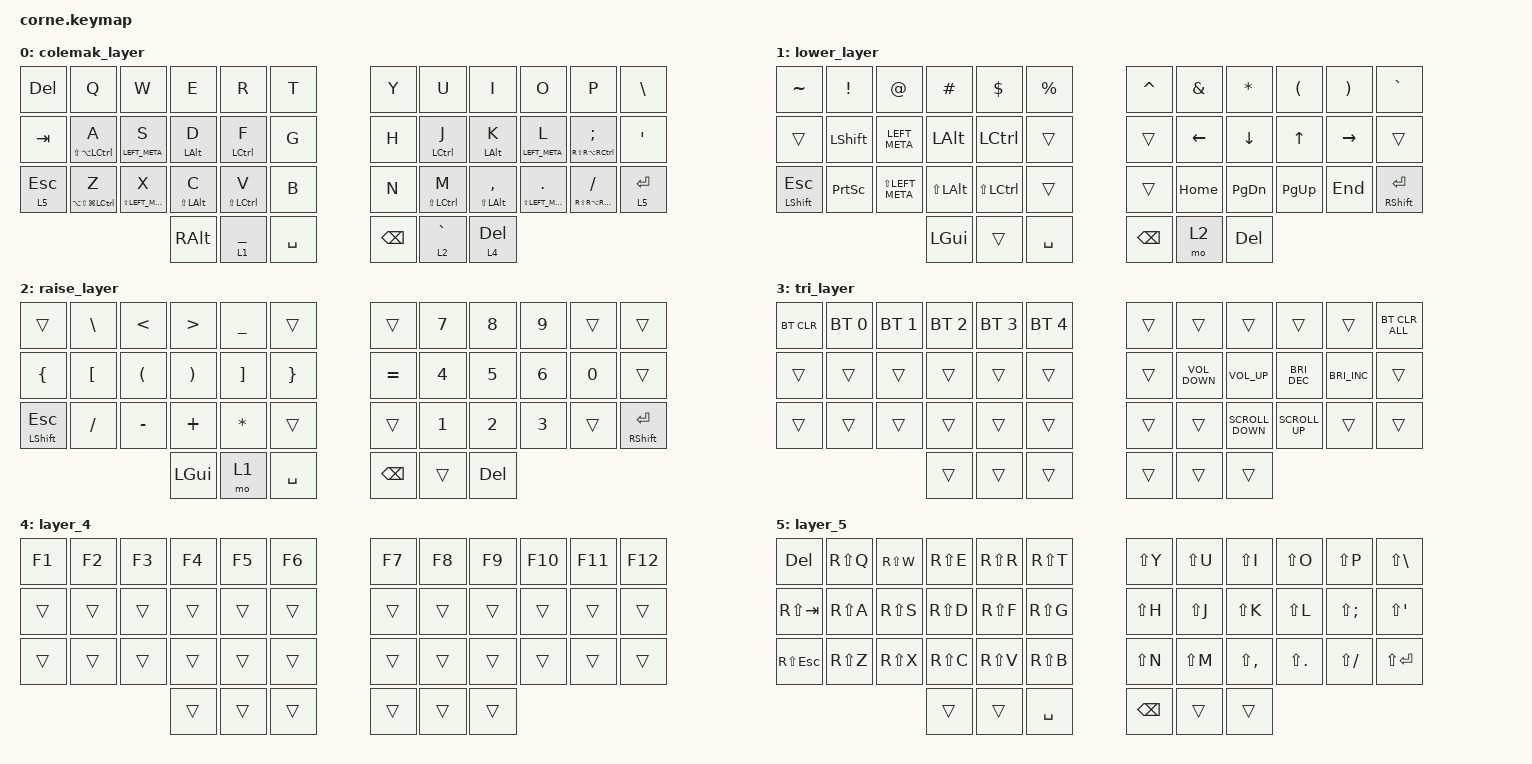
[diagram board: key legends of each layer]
/*
 * Copyright (c) 2020 The ZMK Contributors
 *
 * SPDX-License-Identifier: MIT
 */

#include <behaviors.dtsi>
#include <dt-bindings/zmk/bt.h>
#include <dt-bindings/zmk/keys.h>

&lt {
    flavor = "hold-preferred";
    tapping-term-ms = <170>;
};

/ {
    behaviors {
        hrmr: hrmr {
            compatible = "zmk,behavior-hold-tap";
            label = "HRMR";
            bindings = <&kp>, <&kp>;

            #binding-cells = <2>;
            tapping-term-ms = <220>;
            quick-tap-ms = <175>;
            require-prior-idle-ms = <125>;
            flavor = "balanced";
            hold-trigger-on-release;
            hold-trigger-key-positions = <39 40 41 0 1 2 3 4 5 12 13 14 15 16 17 24 25 26 27 28 29 36 37 38>;
        };

        hrml: hrml {
            compatible = "zmk,behavior-hold-tap";
            label = "HRML";
            bindings = <&kp>, <&kp>;

            #binding-cells = <2>;
            tapping-term-ms = <220>;
            quick-tap-ms = <175>;
            require-prior-idle-ms = <125>;
            flavor = "balanced";
            hold-trigger-key-positions = <36 37 38 6 7 8 9 10 11 18 19 20 21 22 23 30 31 32 33 34 35 39 40 41>;
            hold-trigger-on-release;
        };

        tmtl: tmtl {
            compatible = "zmk,behavior-hold-tap";
            label = "TMTL";
            bindings = <&kp>, <&kp>;

            #binding-cells = <2>;
            tapping-term-ms = <280>;
            quick-tap-ms = <175>;
            require-prior-idle-ms = <125>;
            flavor = "hold-preferred";
            retro-tap;
            hold-trigger-key-positions = <36 37 38 39 40 41>;
            hold-trigger-on-release;
        };

        tmtr: tmtr {
            compatible = "zmk,behavior-hold-tap";
            label = "TMTR";
            bindings = <&kp>, <&kp>;

            #binding-cells = <2>;
            tapping-term-ms = <280>;
            quick-tap-ms = <175>;
            require-prior-idle-ms = <125>;
            flavor = "hold-preferred";
            hold-trigger-key-positions = <39 40 41 36 37 38>;
            retro-tap;
            hold-trigger-on-release;
        };

        ltl: ltl {
            compatible = "zmk,behavior-hold-tap";
            label = "LTL";
            #binding-cells = <2>;
            tapping-term-ms = <280>;
            quick-tap-ms = <175>;
            require-prior-idle-ms = <(-1)>;
            flavor = "hold-preferred";
            hold-trigger-key-positions = <39 40 41 36 37 38>;
            retro-tap;
            bindings = <&mt>, <&kp>;
        };
    };

    combos {
        compatible = "zmk,combos";

        combo_magic_caps {
            bindings = <&caps_word>;
            key-positions = <35 24>;
            layers = <0>;
            require-prior-idle-ms = <150>;
            timeout-ms = <35>;
        };

        all {
            bindings = <&kp LC(A)>;
            key-positions = <13 14>;
            layers = <0>;
            timeout-ms = <18>;
            require-prior-idle-ms = <150>;
        };

        copy {
            bindings = <&kp LC(C)>;
            key-positions = <26 27>;
            layers = <0>;
            timeout-ms = <18>;
            require-prior-idle-ms = <150>;
        };

        paste {
            bindings = <&kp LC(V)>;
            key-positions = <27 28>;
            layers = <0>;
            timeout-ms = <18>;
            require-prior-idle-ms = <150>;
        };

        cut {
            bindings = <&kp LC(X)>;
            key-positions = <25 26>;
            layers = <0>;
            timeout-ms = <18>;
            require-prior-idle-ms = <150>;
        };

        undo {
            bindings = <&kp LC(Z)>;
            key-positions = <24 25>;
            layers = <0>;
            timeout-ms = <18>;
            require-prior-idle-ms = <150>;
        };

        toggle_functions {
            bindings = <&tog 2>;
            key-positions = <4 5>;
            layers = <0 1 2 3>;
            timeout-ms = <18>;
            require-prior-idle-ms = <150>;
        };

        combo_close {
            bindings = <&kp LC(W)>;
            key-positions = <3 2>;
            timeout-ms = <18>;
            require-prior-idle-ms = <150>;
            layers = <0>;
        };

        combo_quit {
            bindings = <&kp LC(Q)>;
            key-positions = <2 1>;
            timeout-ms = <18>;
            require-prior-idle-ms = <150>;
            layers = <0>;
        };

        combo_return {
            bindings = <&kp RETURN>;
            key-positions = <38 37>;
            timeout-ms = <35>;
            require-prior-idle-ms = <150>;
        };
    };

    keymap {
        compatible = "zmk,keymap";

        colemak_layer {
            // -----------------------------------------------------------------------------------------
            // |  TAB |  Q  |  W  |  E  |  R  |  T  |   |  Y  |  U   |  I  |  O  |  P  | BKSP |
            // | CTRL |  A  |  S  |  D  |  F  |  G  |   |  H  |  J   |  K  |  L  |  ;  |  '   |
            // | SHFT |  Z  |  X  |  C  |  V  |  B  |   |  N  |  M   |  ,  |  .  |  /  | ESC  |
            //                    | GUI | LWR | SPC |   | ENT | RSE  | ALT |

            bindings = <
&kp DELETE    &kp Q                             &kp W                  &kp E                 &kp R                     &kp T        &kp Y          &kp U                     &kp I                     &kp O                       &kp P                                  &kp BACKSLASH
&kp TAB       &hrml LS(LA(LCTRL)) A             &hrml LEFT_META S      &hrml LEFT_ALT D      &hrml LCTRL F             &kp G        &kp H          &hrmr LEFT_CONTROL J      &hrmr LEFT_ALT K          &hrmr LEFT_META L           &hrmr RS(RA(RIGHT_CONTROL)) SEMICOLON  &kp SQT
&lt 5 ESCAPE  &hrml LA(LS(LG(LEFT_CONTROL))) Z  &hrml LS(LEFT_META) X  &hrml LS(LEFT_ALT) C  &hrml LS(LEFT_CONTROL) V  &kp B        &kp N          &hrmr LS(LEFT_CONTROL) M  &hrmr LS(LEFT_ALT) COMMA  &hrmr LS(LEFT_META) PERIOD  &hrmr RS(RA(RG(RIGHT_CONTROL))) SLASH  &lt 5 RET
                                                                       &kp RIGHT_ALT         &lt 1 UNDER               &kp SPACE    &kp BACKSPACE  &lt 2 GRAVE               &lt 4 DELETE
            >;
        };

        lower_layer {
            // -----------------------------------------------------------------------------------------
            // |  TAB |  1  |  2  |  3  |  4  |  5  |   |  6  |  7  |  8  |  9  |  0  | BKSP |
            // | BTCLR| BT1 | BT2 | BT3 | BT4 | BT5 |   | LFT | DWN |  UP | RGT |     |      |
            // | SHFT |     |     |     |     |     |   |     |     |     |     |     |      |
            //                    | GUI |     | SPC |   | ENT |     | ALT |

            bindings = <
&kp TILDE              &kp EXCLAMATION  &kp AT_SIGN        &kp HASH          &kp DOLLAR            &kp PERCENT    &kp CARET      &kp AMPERSAND   &kp ASTERISK    &kp LEFT_PARENTHESIS  &kp RIGHT_PARENTHESIS  &kp GRAVE
&trans                 &kp LEFT_SHIFT   &kp LEFT_META      &kp LEFT_ALT      &kp LEFT_CONTROL      &trans         &trans         &kp LEFT_ARROW  &kp DOWN_ARROW  &kp UP_ARROW          &kp RIGHT              &trans
&mt LEFT_SHIFT ESCAPE  &kp PRINTSCREEN  &kp LS(LEFT_META)  &kp LS(LEFT_ALT)  &kp LS(LEFT_CONTROL)  &trans         &trans         &kp HOME        &kp PAGE_DOWN   &kp PAGE_UP           &kp END                &mt RIGHT_SHIFT ENTER
                                                           &kp LGUI          &trans                &kp SPACE      &kp BACKSPACE  &mo 2           &kp DEL
            >;
        };

        raise_layer {
            // -----------------------------------------------------------------------------------------
            // |  TAB |  !  |  @  |  #  |  $  |  %  |   |  ^  |  &  |  *  |  (  |  )  | BKSP |
            // | CTRL |     |     |     |     |     |   |  -  |  =  |  [  |  ]  |  \  |  `   |
            // | SHFT |     |     |     |     |     |   |  _  |  +  |  {  |  }  | "|" |  ~   |
            //                    | GUI |     | SPC |   | ENT |     | ALT |

            bindings = <
&trans                 &kp BACKSLASH     &kp LESS_THAN         &kp GREATER_THAN       &kp UNDERSCORE     &trans             &trans         &kp N7        &kp NUMBER_8  &kp NUMBER_9  &trans        &trans
&kp LEFT_BRACE         &kp LEFT_BRACKET  &kp LEFT_PARENTHESIS  &kp RIGHT_PARENTHESIS  &kp RIGHT_BRACKET  &kp RIGHT_BRACE    &kp EQUAL      &kp NUMBER_4  &kp N5        &kp NUMBER_6  &kp NUMBER_0  &trans
&mt LEFT_SHIFT ESCAPE  &kp SLASH         &kp MINUS             &kp PLUS               &kp ASTERISK       &trans             &trans         &kp NUMBER_1  &kp NUMBER_2  &kp NUMBER_3  &trans        &mt RIGHT_SHIFT ENTER
                                                               &kp LGUI               &mo 1              &kp SPACE          &kp BACKSPACE  &trans        &kp DEL
            >;
        };

        tri_layer {
            bindings = <
&bt BT_CLR  &bt BT_SEL 0  &bt BT_SEL 1  &bt BT_SEL 2  &bt BT_SEL 3  &bt BT_SEL 4    &trans  &trans             &trans             &trans                &trans                &bt BT_CLR_ALL
&trans      &trans        &trans        &trans        &trans        &trans          &trans  &kp C_VOLUME_DOWN  &kp C_VOLUME_UP    &kp C_BRIGHTNESS_DEC  &kp C_BRIGHTNESS_INC  &trans
&trans      &trans        &trans        &trans        &trans        &trans          &trans  &trans             &kp K_SCROLL_DOWN  &kp K_SCROLL_UP       &trans                &trans
                                        &trans        &trans        &trans          &trans  &trans             &trans
            >;
        };

        layer_4 {
            bindings = <
&kp F1  &kp F2  &kp F3  &kp F4  &kp F5  &kp F6    &kp F7  &kp F8  &kp F9  &kp F10  &kp F11  &kp F12
&trans  &trans  &trans  &trans  &trans  &trans    &trans  &trans  &trans  &trans   &trans   &trans
&trans  &trans  &trans  &trans  &trans  &trans    &trans  &trans  &trans  &trans   &trans   &trans
                        &trans  &trans  &trans    &trans  &trans  &trans
            >;
        };

        layer_5 {
            bindings = <
&kp DEL         &kp RS(Q)  &kp RS(W)  &kp RS(E)  &kp RS(R)  &kp RS(T)    &kp LS(Y)      &kp LS(U)  &kp LS(I)      &kp LS(O)       &kp LS(P)          &kp LS(BACKSLASH)
&kp RS(TAB)     &kp RS(A)  &kp RS(S)  &kp RS(D)  &kp RS(F)  &kp RS(G)    &kp LS(H)      &kp LS(J)  &kp LS(K)      &kp LS(L)       &kp LS(SEMICOLON)  &kp LS(SQT)
&kp RS(ESCAPE)  &kp RS(Z)  &kp RS(X)  &kp RS(C)  &kp RS(V)  &kp RS(B)    &kp LS(N)      &kp LS(M)  &kp LS(COMMA)  &kp LS(PERIOD)  &kp LS(SLASH)      &kp LS(ENTER)
                                      &trans     &trans     &kp SPACE    &kp BACKSPACE  &trans     &trans
            >;
        };
    };

    conditional_layers {
        compatible = "zmk,conditional-layers";

        tri_layer {
            if-layers = <1 2>;
            then-layer = <3>;
        };
    };
};
